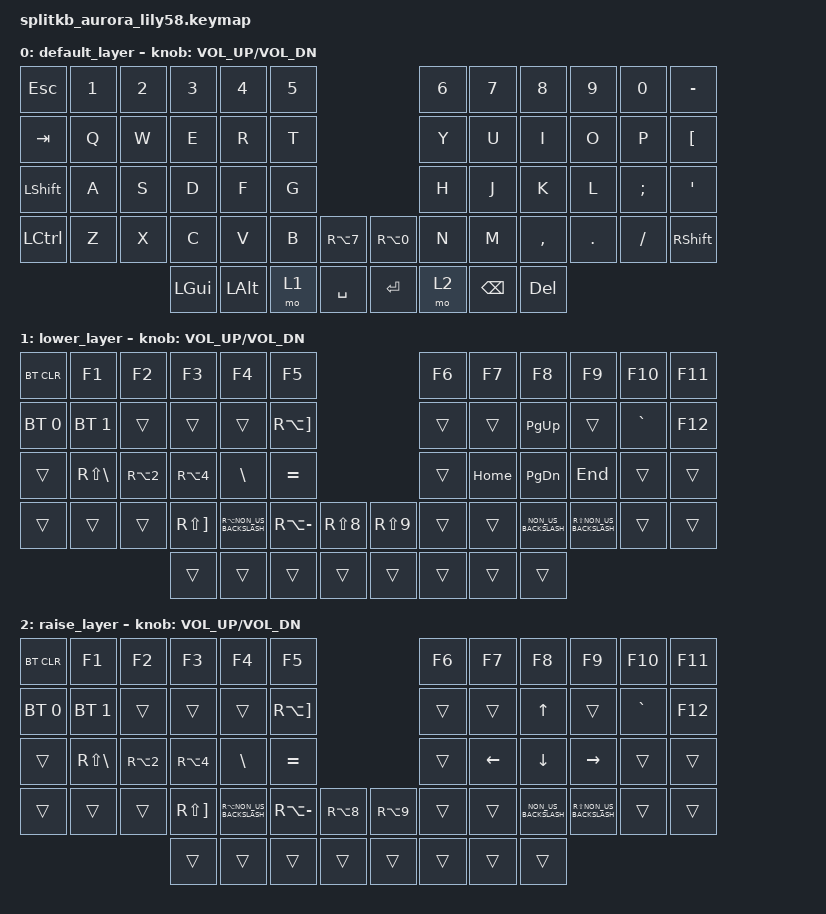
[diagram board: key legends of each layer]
/*
 * Copyright (c) 2022 The ZMK Contributors
 *
 * SPDX-License-Identifier: MIT
 */

#include <behaviors.dtsi>
#include <dt-bindings/zmk/keys.h>
#include <dt-bindings/zmk/bt.h>
#include <dt-bindings/zmk/ext_power.h>

/ {
    keymap {
        compatible = "zmk,keymap";

        default_layer {
// ------------------------------------------------------------------------------------------------------------
// |  ESC  |  1  |  2  |  3   |  4   |  5   |                   |  6   |  7    |  8    |  9   |   0   |   +   |
// |  TAB  |  Q  |  W  |  E   |  R   |  T   |                   |  Y   |  U    |  I    |  O   |   P   |   Å   |
// | SHIFT |  A  |  S  |  D   |  F   |  G   |                   |  H   |  J    |  K    |  L   |   Ö   |   Ä   |
// |  CTRL |  Z  |  X  |  C   |  V   |  B   |   "{"  |  |  "}"  |  N   |  M    |  ,    |  .   |   -   | SHIFT |
//                     | GUI  | ALT  | LOWER|  SPACE |  | ENTER | RAISE| BSPC  | DEL   |
            bindings = <
&kp ESC   &kp N1 &kp N2 &kp N3   &kp N4   &kp N5                                    &kp N6 &kp N7   &kp N8    &kp N9  &kp N0   &kp MINUS
&kp TAB   &kp Q  &kp W  &kp E    &kp R    &kp T                                     &kp Y  &kp U    &kp I     &kp O   &kp P    &kp LEFT_BRACKET
&kp LSHFT &kp A  &kp S  &kp D    &kp F    &kp G                                     &kp H  &kp J    &kp K     &kp L   &kp SEMI &kp SQT
&kp LCTRL &kp Z  &kp X  &kp C    &kp V    &kp B  &kp RA(NUMBER_7) &kp RA(NUMBER_0)  &kp N  &kp M    &kp COMMA &kp DOT &kp FSLH &kp RSHFT
                        &kp LGUI &kp LALT &mo 1  &kp SPACE        &kp RET           &mo 2  &kp BSPC &kp DEL
            >;

            sensor-bindings = <&inc_dec_kp C_VOL_UP C_VOL_DN>;
        };

        lower_layer {
// ------------------------------------------------------------------------------------------------------------
// | BTCLR |  F1 |  F2 |  F3  |  F4  |  F5  |                   |  F6  |   F7  |  F8   |  F9  |  F10  |  F11  |
// |  BT1  | BT2 |     |      |      |  ~   |                   |      |       |  PGUP |      |   §   |  F12  |
// |       |  *  |  @  |  $   |  '   |  `   |                   |      |  HOME | PGDWN | END  |       |       |
// |       |     |     |  ^   | "|"  |  \   |   (    |  |   )   |      |       |  "<"  | ">"  |       |       |
//                     |      |      |      |        |  |       |      |       |       |
            bindings = <
&bt BT_CLR    &kp F1              &kp F2               &kp F3                &kp F4                    &kp F5                                                &kp F6           &kp F7            &kp F8                &kp F9                      &kp F10    &kp F11
&bt BT_SEL 0  &bt BT_SEL 1        &trans               &trans                &trans                    &kp RA(RIGHT_BRACKET)                                 &trans           &trans            &kp PAGE_UP           &trans                      &kp GRAVE  &kp F12
&trans        &kp RS(BSLH)        &kp RA(NUMBER_2)     &kp RA(NUMBER_4)      &kp BSLH                  &kp EQUAL                                             &trans           &kp HOME          &kp PAGE_DOWN         &kp END                     &trans     &trans
&trans        &trans              &trans               &kp RS(RIGHT_BRACKET) &kp RA(NON_US_BACKSLASH)  &kp RA(MINUS) &kp RS(NUMBER_8)    &kp RS(NUMBER_9)    &trans           &trans            &kp NON_US_BACKSLASH  &kp RS(NON_US_BACKSLASH)    &trans     &trans
                                                       &trans                &trans                    &trans        &trans              &trans              &trans           &trans            &trans
            >;

            sensor-bindings = <&inc_dec_kp C_VOL_UP C_VOL_DN>;
        };

        raise_layer {
// ------------------------------------------------------------------------------------------------------------
// | BTCLR |  F1 |  F2 |  F3  |  F4  |  F5  |              | F6  |   F7  |  F8   |  F9  |  F10  |  F11  |
// | BT1   | BT2 |     |      |      |  ~   |              |     |       |   ^   |      |   §   |  F12  |
// |       |  *  |  @  |  $   |   '  |  `   |              |     |   <-  |   v   |  ->  |       |       |
// |       |     |     |  ^   | "|"  |  \   | "[" |  | "]" |     |       |  "<"  | ">"  |       |       |
//                     |      |      |      |     |  |     |     |       |       |
            bindings = <
&bt BT_CLR    &kp F1              &kp F2               &kp F3                &kp F4                   &kp F5                                                &kp F6      &kp F7      &kp F8                  &kp F9                      &kp F10     &kp F11
&bt BT_SEL 0  &bt BT_SEL 1        &trans               &trans                &trans                   &kp RA(RIGHT_BRACKET)                                 &trans      &trans      &kp UP                  &trans                      &kp GRAVE   &kp F12
&trans        &kp RS(BSLH)        &kp RA(NUMBER_2)     &kp RA(NUMBER_4)      &kp BSLH                 &kp EQUAL                                             &trans      &kp LEFT    &kp DOWN                &kp RIGHT                   &trans      &trans
&trans        &trans              &trans               &kp RS(RIGHT_BRACKET) &kp RA(NON_US_BACKSLASH) &kp RA(MINUS) &kp RA(NUMBER_8)    &kp RA(NUMBER_9)    &trans      &trans      &kp NON_US_BACKSLASH    &kp RS(NON_US_BACKSLASH)    &trans      &trans
                                                       &trans                &trans                   &trans        &trans              &trans              &trans      &trans      &trans
            >;

            sensor-bindings = <&inc_dec_kp C_VOL_UP C_VOL_DN>;
        };
    };
};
